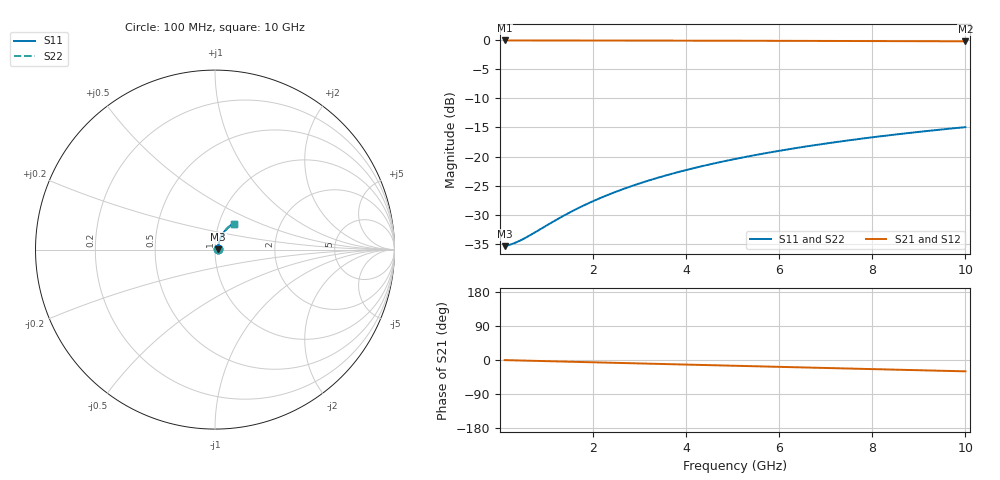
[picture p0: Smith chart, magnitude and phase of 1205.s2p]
# Hz S RI R 50.00
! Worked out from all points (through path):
!   100 points, 100 MHz to 10 GHz, reference 50 ohm
!   highest |S21| = -0.15 dB at 100 MHz (marker M1); lowest = -0.3 dB at 10 GHz (marker M2)
!   group delay of S21, straight-line fit = 8.32 ps
!   lowest |S11| = -35.3 dB at 100 MHz (marker M3), VSWR 1.03, Z = 51.7 + j0.185 ohm
!   |S11| at or under -10 dB: start of sweep to end of sweep
!   |S22| runs from -35.3 to -15.0 dB; largest |S21 - S12| = 0
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1e8  0.017 0.00179  0.983 -0.00519  0.983 -0.00519  0.017 0.00179
2e8  0.0171 0.00358  0.9828 -0.0104  0.9828 -0.0104  0.0171 0.00358
3e8  0.0173 0.00537  0.9827 -0.0156  0.9827 -0.0156  0.0173 0.00537
5e8  0.0175 0.00894  0.9823 -0.0259  0.9823 -0.0259  0.0175 0.00894
7e8  0.0179 0.0125  0.9818 -0.0363  0.9818 -0.0363  0.0179 0.0125
1.3e9  0.0192 0.0232  0.9798 -0.0673  0.9798 -0.0673  0.0192 0.0232
1.6e9  0.0201 0.0284  0.9784 -0.0828  0.9784 -0.0828  0.0201 0.0284
1.8e9  0.0208 0.0319  0.9773 -0.0931  0.9773 -0.0931  0.0208 0.0319
2.1e9  0.022 0.0372  0.9754 -0.1085  0.9754 -0.1085  0.022 0.0372
2.5e9  0.0238 0.0441  0.9725 -0.129  0.9725 -0.129  0.0238 0.0441
2.9e9  0.0259 0.0509  0.9692 -0.1493  0.9692 -0.1493  0.0259 0.0509
3.4e9  0.0289 0.0593  0.9643 -0.1747  0.9643 -0.1747  0.0289 0.0593
3.8e9  0.0316 0.0658  0.9599 -0.1948  0.9599 -0.1948  0.0316 0.0658
4.2e9  0.0346 0.0723  0.955 -0.2148  0.955 -0.2148  0.0346 0.0723
4.6e9  0.0378 0.0786  0.9497 -0.2346  0.9497 -0.2346  0.0378 0.0786
5.1e9  0.0423 0.0863  0.9424 -0.2591  0.9424 -0.2591  0.0423 0.0863
5.9e9  0.0502 0.098  0.9293 -0.2978  0.9293 -0.2978  0.0502 0.098
6.7e9  0.059 0.109  0.9146 -0.3357  0.9146 -0.3357  0.059 0.109
7.5e9  0.0687 0.1192  0.8982 -0.3727  0.8982 -0.3727  0.0687 0.1192
8.4e9  0.0805 0.1296  0.8779 -0.4132  0.8779 -0.4132  0.0805 0.1296
9.2e9  0.0918 0.1378  0.8582 -0.4481  0.8582 -0.4481  0.0918 0.1378
1e10  0.1036 0.1451  0.8372 -0.4818  0.8372 -0.4818  0.1036 0.1451
